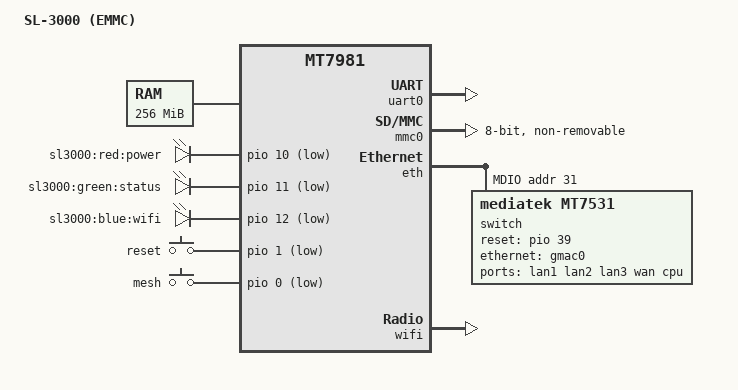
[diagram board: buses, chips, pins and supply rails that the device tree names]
/dts-v1/;

#include "mt7981.dtsi"

/ {
	model = "SL-3000 (EMMC)";
	compatible = "sl,3000-emmc", "mediatek,mt7981";

	aliases {
		serial0 = &uart0;
		led-boot = &red_power;
		led-failsafe = &red_power;
		led-running = &green_status;
		led-upgrade = &blue_wifi;
	};

	chosen {
		bootargs = "console=ttyS0,115200n8";
		stdout-path = "serial0:115200n8";
	};

	memory@40000000 {
		device_type = "memory";
		reg = <0x40000000 0x10000000>; /* 256MB */
	};

	leds {
		compatible = "gpio-leds";

		red_power: red_power {
			label = "sl3000:red:power";
			gpios = <&pio 10 GPIO_ACTIVE_LOW>;
			default-state = "on";
		};

		green_status: green_status {
			label = "sl3000:green:status";
			gpios = <&pio 11 GPIO_ACTIVE_LOW>;
			default-state = "off";
		};

		blue_wifi: blue_wifi {
			label = "sl3000:blue:wifi";
			gpios = <&pio 12 GPIO_ACTIVE_LOW>;
			default-state = "off";
		};
	};

	gpio-keys {
		compatible = "gpio-keys";

		reset {
			label = "reset";
			linux,code = <KEY_RESTART>;
			gpios = <&pio 1 GPIO_ACTIVE_LOW>;
		};

		mesh {
			label = "mesh";
			linux,code = <KEY_WPS_BUTTON>;
			gpios = <&pio 0 GPIO_ACTIVE_LOW>;
		};
	};
};

/* ===== UART ===== */
&uart0 {
	status = "okay";
};

/* ===== EMMC ===== */
&mmc0 {
	status = "okay";
	bus-width = <8>;
	non-removable;
	no-sd;
	no-sdio;
	max-frequency = <52000000>;
};

/* ===== Ethernet + Switch ===== */
&eth {
	status = "okay";

	gmac0: mac@0 {
		status = "okay";
		phy-mode = "2500base-x";

		fixed-link {
			speed = <2500>;
			full-duplex;
		};
	};

	mdio: mdio-bus {
		#address-cells = <1>;
		#size-cells = <0>;

		switch@0 {
			compatible = "mediatek,mt7531";
			reg = <0x1f>;
			reset-gpios = <&pio 39 GPIO_ACTIVE_HIGH>;

			ports {
				#address-cells = <1>;
				#size-cells = <0>;

				port@0 {
					reg = <0>;
					label = "lan1";
				};

				port@1 {
					reg = <1>;
					label = "lan2";
				};

				port@2 {
					reg = <2>;
					label = "lan3";
				};

				port@3 {
					reg = <3>;
					label = "wan";
				};

				port@6 {
					reg = <6>;
					label = "cpu";
					ethernet = <&gmac0>;
					phy-mode = "2500base-x";

					fixed-link {
						speed = <2500>;
						full-duplex;
					};
				};
			};
		};
	};
};

/* ===== WiFi ===== */
&wifi {
	status = "okay";
};
